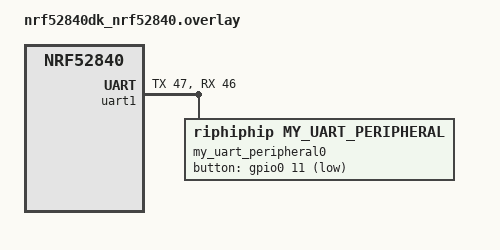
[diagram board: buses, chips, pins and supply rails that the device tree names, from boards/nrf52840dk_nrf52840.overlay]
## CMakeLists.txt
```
cmake_minimum_required(VERSION 3.20.4)

find_package(Zephyr REQUIRED HINTS ../zephyr)
project("uart-peripheral-driver-example")

target_sources(app PRIVATE
    src/main.c
)
add_subdirectory(drivers)
```

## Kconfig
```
menu "UART peripheral driver example"
rsource "drivers/Kconfig"
endmenu

menu "Zephyr Kernel"
source "Kconfig.zephyr"
endmenu

module = APPLICATION_MODULE
module-str = Application module
source "subsys/logging/Kconfig.template.log_config"
```

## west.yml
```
manifest:
  version: "0.10"

  defaults:
    revision: main

  remotes:
    - name: zephyr
      url-base: https://github.com/zephyrproject-rtos/
    
  projects:
    - name: zephyr
      remote: zephyr
      path: zephyr
      revision: v2.6.0
      import: true

  self:
    path: uart-driver-example
```

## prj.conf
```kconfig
# Enable custom device driver
CONFIG_UART_INTERRUPT_DRIVEN=y
CONFIG_MY_UART_PERIPHERAL=y

# Logging
CONFIG_LOG=y
CONFIG_MY_UART_PERIPHERAL_LOG_LEVEL_DBG=y
```

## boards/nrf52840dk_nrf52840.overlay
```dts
&uart1 {
    status="okay";
    rx-pin = < 46 >;
    tx-pin = < 47 >;
    my_device: my_uart_peripheral0 {
        compatible = "riphiphip,my_uart_peripheral";
        status="okay";
        label = "my_uart_peripheral0";
        button-gpios = <&gpio0 11 (GPIO_ACTIVE_LOW | GPIO_PULL_UP)>; // Button 1 on dk
        initial-string = "Hello, World!";
    };
};
```

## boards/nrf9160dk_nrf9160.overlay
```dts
&uart1 {
    status="okay";
    rx-pin = < 10 >;
    tx-pin = < 11 >;
    my_device: my_uart_peripheral0 {
        compatible = "riphiphip,my_uart_peripheral";
        status="okay";
        label = "my_uart_peripheral0";
        button-gpios = <&gpio0 6 (GPIO_ACTIVE_LOW | GPIO_PULL_UP)>;
        initial-string = "Hello, World!";
    };
};
```

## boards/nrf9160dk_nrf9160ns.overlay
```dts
&uart1 {
    status="okay";
    rx-pin = < 10 >;
    tx-pin = < 11 >;
    my_device: my_uart_peripheral0 {
        compatible = "riphiphip,my_uart_peripheral";
        status="okay";
        label = "my_uart_peripheral0";
        button-gpios = <&gpio0 6 (GPIO_ACTIVE_LOW | GPIO_PULL_UP)>; // Button 1 on dk
        initial-string = "Hello, World!";
    };
};
```

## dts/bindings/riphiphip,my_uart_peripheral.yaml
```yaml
description: |
  UART peripheral example. Transmits data over uart on button press
  and accumulates recieved data as strings.

compatible: "riphiphip,my_uart_peripheral"

include: uart-device.yaml

properties:
  button-gpios:
    required: true
    type: phandle-array
    description: |
      GPIO pin used to trigger data transmission.
  initial-string:
    required: false
    type: string
    description: |
      Initial string to be sent over uart. Can be changed during run-time.
```

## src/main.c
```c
#include <zephyr.h>
#include <devicetree.h>
#include <device.h>

#include "../drivers/my_uart_peripheral/api.h"

struct counter
{
    int strings;
    int overflows;
};

static struct counter tracker = {0};

void peripheral_callback(const struct device *dev, char *data, size_t length, bool is_string, void *user_data)
{
    struct counter *c = (struct counter *)user_data;
    if (is_string)
    {
        printk("Recieved string \"%s\"\n", data);
        c->strings++;
    } else {
        printk("Buffer full. Recieved fragment %.*s\n", length, data);
        c->overflows++;
    }
    printk("Strings: %d\nOverflows: %d\n", c->strings, c->overflows);
}


void main(void)
{
    const struct device *dev = device_get_binding(DT_LABEL(DT_NODELABEL(my_device)));
    my_uart_set_callback(dev, peripheral_callback, &tracker);
}
```
